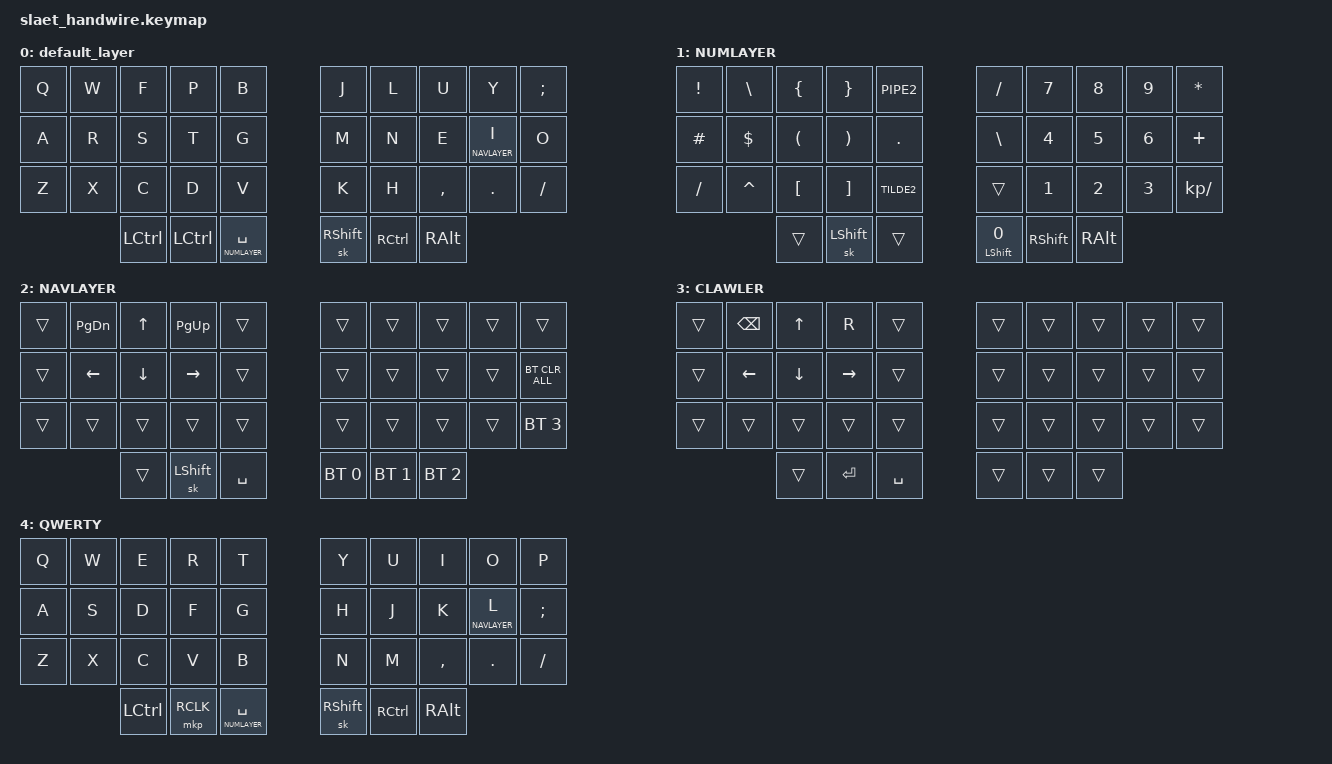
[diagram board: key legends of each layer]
/*
 * Copyright (c) 2024 Slaet
 * SPDX-License-Identifier: MIT
 */

#include <behaviors.dtsi>
#include <dt-bindings/zmk/keys.h>
#include <dt-bindings/zmk/bt.h>
#include <dt-bindings/zmk/mouse.h>
#define DEFAULT      0
#define NUMLAYER     1
#define NAVLAYER     2
#define CLAWLER      3
#define QWERTY       4

/*                  36 KEY MATRIX 

  ╭─────────────────────┬────────────────────╮
  │  0   1   2   3   4  │  6   7   8   9  10 │ 
  │ 11  12  13 (14) 15  │ 16 (17) 18  19  20 │
  │ 21  22  23  24  25  │ 26  27  28  29  30 │ 
  ╰───────╮ 31  32  33  │ 34  35  36 ╭───────╯
          ╰─────────────┴────────────╯          */

/ {
     behaviors {
        nbspc: n_bspc {
            compatible = "zmk,behavior-mod-morph";
            #binding-cells = <0>;
            bindings = <&kp N>, <&kp BSPC>;
            mods = <(MOD_LCTL|MOD_RALT)>;
        };
    };

};

/ {
        keymap {
                compatible = "zmk,keymap";
                default_layer {

                        bindings = <
    &kp Q &kp W &kp F &kp P &kp B                         &kp J &kp L     &kp U     &kp Y               &kp SEMI
    &kp A &kp R &kp S &kp T &kp G                         &kp M &kp N     &kp E     &lt NAVLAYER I      &kp O
    &kp Z &kp X &kp C &kp D &kp V                         &kp K &kp H     &kp COMMA &kp DOT             &kp FSLH

               /**/  &kp LCTRL &kp LCTRL &lt NUMLAYER SPACE       /**/ &sk RSHIFT &kp RCTRL &kp RALT
                  
                        >;
                };
                NUMLAYER {

                        bindings = <
    &kp EXCL &kp BSLH   &kp LBRC &kp RBRC &kp PIPE2                 &kp FSLH    &kp N7  &kp N8     &kp N9   &kp ASTRK
    &kp HASH &kp DLLR   &kp LPAR &kp RPAR &kp DOT                   &kp BSLH    &kp N4  &kp N5     &kp N6   &kp PLUS
    &kp FSLH &kp CARET  &kp LBKT &kp RBKT &kp TILDE2                &trans      &kp N1  &kp N2     &kp N3   &kp KP_DIVIDE

                                        &trans &sk LSHIFT &trans           &mt LSHIFT NUMBER_0    &kp RSHIFT  &kp RALT
                  
                        >;
                };
                NAVLAYER {

                        bindings = <
    &trans  &kp PG_DN   &kp UP      &kp PG_UP   &trans              &trans &trans  &trans  &trans  &trans
    &trans  &kp LEFT    &kp DOWN    &kp RIGHT   &trans              &trans &trans  &trans  &trans  &bt BT_CLR_ALL
    &trans  &trans      &trans      &trans      &trans              &trans &trans  &trans  &trans  &bt BT_SEL 3

                                        &trans &sk LSHIFT &kp SPACE      &bt BT_SEL 0 &bt BT_SEL 1 &bt BT_SEL 2
                  
                        >;
                };
                CLAWLER {

                        bindings = <
    &trans &kp BSPC     &kp UP      &kp R               &trans      &trans   &trans     &trans    &trans   &trans
    &trans &kp LEFT     &kp DOWN    &kp RIGHT           &trans      &trans   &trans     &trans    &trans   &trans
    &trans &trans       &trans      &trans              &trans      &trans   &trans     &trans    &trans   &trans

                   &trans &kp RET &kp SPACE                          &trans &trans &trans
                  
                        >;
                };
                QWERTY {

                        bindings = <
    &kp Q &kp W &kp E  &kp R &kp T         &kp Y &kp U  &kp I     &kp O               &kp P
    &kp A &kp S &kp D  &kp F &kp G       &kp H &kp J  &kp K     &lt NAVLAYER L      &kp SEMI
    &kp Z &kp X &kp C  &kp V &kp B       &kp N &kp M  &kp COMMA &kp DOT             &kp FSLH

                  &kp LCTRL &mkp RCLK &lt NUMLAYER SPACE   &sk RSHIFT &kp RCTRL &kp RALT
                  
                        >;
                };
        };
};
